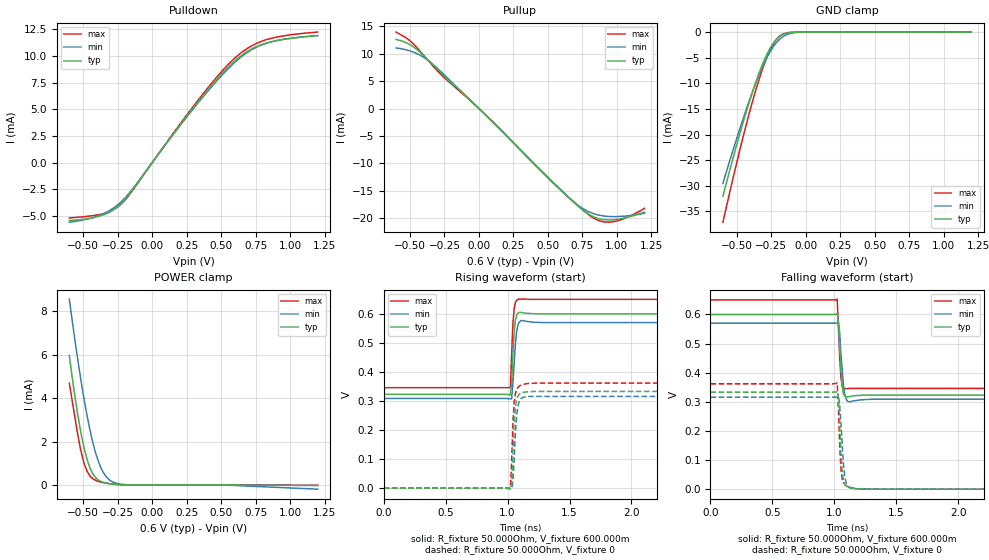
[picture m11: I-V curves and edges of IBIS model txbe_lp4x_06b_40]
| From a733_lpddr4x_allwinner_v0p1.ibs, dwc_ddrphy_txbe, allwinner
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[Model] txbe_lp4x_06b_40
Model_type   I/O
Polarity   Non-Inverting
Enable   Active-High
C_comp   1.525pF   1.517pF   1.532pF
C_comp_pullup   284.856fF   277.095fF   289.907fF
C_comp_pulldown 1.177pF   1.176pF   1.178pF
Vinh = 420.000mV
Vinl = 300.000mV
Vmeas = 360.000mV
Vref = 360.000mV
Rref = 50Ohms
Cref = 0pF
[Model Spec]
Vinh   420.000mV   402.000mV   450.000mV
Vinl   300.000mV   282.000mV   330.000mV
Vmeas   360.000mV   342.000mV   390.000mV
Vref   360.000mV   342.000mV   390.000mV
D_overshoot_ampl_h 0.1 NA   NA
D_overshoot_ampl_l 0.1 NA   NA
D_overshoot_area_l 300.000m NA   NA
D_overshoot_area_h 300.000m NA   NA
[Receiver Thresholds]
Vth = 180.000mV
Vth_min = 171.000mV
Vth_max = 195.000mV
Vinh_ac = 60.000mV
Vinh_dc = 60.000mV
Vinl_ac = -60.000mV
Vinl_dc = -60.000mV
Tslew_ac = 5.000ns
Threshold_sensitivity = 0.5
Reference_supply Pullup_ref
[Temperature Range]   25.000   125.000   -40.000
[Voltage Range]   600.000mV   570.000mV   650.000mV
[GND Clamp Reference]   0.00V   0.00V   0.00V
[C Comp Corner]
| variable   typ   min   max
C_comp 1.525pF   1.532pF   1.517pF
C_comp_pullup 284.856fF   289.907fF   277.095fF
C_comp_pulldown 1.176pF   1.177pF   1.178pF
[Pulldown Reference]   0.00V   0.00V   0.00V
[POWER Clamp Reference]   600.000mV   570.000mV   650.000mV
[Pullup Reference]   600.000mV   570.000mV   650.000mV
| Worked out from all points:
|   slope of the pulldown table from 0 to 0.09 V, typ, clamps not added: 56.6 ohm
|   slope of the pullup table from 0 to 0.09 V, typ, clamps not added: 40.9 ohm
|   GND clamp passes 1 mA (typ) near -0.20 V on its own axis
|   POWER clamp passes 1 mA (typ) near -0.46 V on its own axis
|   rising waveform, R_fixture 50.000Ohm, V_fixture 600.000m: 20-80 % time 20.4ps typ, 25ps min, 19.6ps max; typ from 0.323 V to 0.6 V
|   rising waveform, R_fixture 50.000Ohm, V_fixture 0: 20-80 % time 23.3ps typ, 26.1ps min, 21.9ps max; typ from 0 V to 0.333 V
|   falling waveform, R_fixture 50.000Ohm, V_fixture 600.000m: 20-80 % time 22.4ps typ, 27.3ps min, 20.5ps max; typ from 0.6 V to 0.323 V
|   falling waveform, R_fixture 50.000Ohm, V_fixture 0: 20-80 % time 24ps typ, 30ps min, 21.6ps max; typ from 0.333 V to 0 V
[GND Clamp]
-600mV    -32.03mA   -29.54mA   -37.09mA
-520mV    -23.95mA   -22.45mA   -27.77mA
-450mV    -17.29mA   -16.6mA    -20.07mA
-390mV    -12.04mA   -11.97mA   -13.96mA
-350mV    -8.872mA   -9.144mA   -10.26mA
-300mV    -5.434mA   -6.026mA   -6.213mA
-260mV    -3.228mA   -3.945mA   -3.604mA
-230mV    -1.962mA   -2.676mA   -2.109mA
-190mV    -840.1uA   -1.417mA   -811.3uA
-130mV    -154.6uA   -403.6uA   -107.3uA
-40mV     -4.876uA   -22.97uA   -1.917uA
1.2V      1.203uA    9.496uA    358.3nA
[Power Clamp]
-600mV    5.963mA    8.559mA    4.686mA
-560mV    4.101mA    6.693mA    3.134mA
-520mV    2.543mA    4.988mA    1.684mA
-500mV    1.903mA    4.207mA    1.151mA
-470mV    1.147mA    3.144mA    618.5uA
-430mV    519.2uA    1.962mA    289.2uA
-390mV    228.5uA    1.089mA    165.9uA
-340mV    92.83uA    440.3uA    93.34uA
-300mV    48.16uA    193.5uA    55.91uA
-170mV    2.644uA    10.52uA    3.018uA
530mV     -347.6nA   -6.316uA   -66.03nA
1.2V      -23.65uA   -191.6uA   -5.619uA
[Pulldown]
-600mV    -5.4mA     -5.56mA    -5.16mA
-370mV    -4.95mA    -4.87mA    -4.81mA
-300mV    -4.563mA   -4.405mA   -4.524mA
-230mV    -3.877mA   -3.715mA   -3.927mA
-150mV    -2.671mA   -2.583mA   -2.736mA
160mV     2.805mA    2.758mA    2.876mA
380mV     6.441mA    6.331mA    6.62mA
530mV     8.649mA    8.51mA     8.897mA
660mV     10.15mA    10.04mA    10.42mA
750mV     10.83mA    10.76mA    11.12mA
860mV     11.31mA    11.29mA    11.62mA
1.2V      11.88mA    11.89mA    12.21mA
[Pullup]
-600mV    12.57mA    11.01mA    13.9mA
-490mV    11.48mA    10.39mA    12.11mA
-410mV    9.847mA    9.467mA    9.935mA
-340mV    8.097mA    8.18mA     7.933mA
50mV      -1.216mA   -1.233mA   -1.198mA
620mV     -15.48mA   -15.44mA   -15.49mA
730mV     -18.02mA   -17.81mA   -17.97mA
810mV     -19.46mA   -18.94mA   -19.6mA
880mV     -20.12mA   -19.45mA   -20.49mA
970mV     -20.25mA   -19.67mA   -20.61mA
1.08V     -19.77mA   -19.52mA   -19.75mA
1.2V      -18.84mA   -19.05mA   -18.16mA
[Ramp]
R_load=50.000Ohm
dV/dt_r   182.986mV/22.500ps  172.979mV/25.500ps  199.797mV/20.000ps
dV/dt_f   182.985mV/24.500ps  172.978mV/29.500ps  199.796mV/21.000ps
[Rising waveform]
R_fixture=50.000Ohm
V_fixture=600.000m
V_fixture_min=570.000m
V_fixture_max=650.000m
0s        323mV      309mV      346mV
1.023ns   320mV      307mV      348mV
1.033ns   365mV      308mV      462mV
1.043ns   460mV      360mV      564mV
1.053ns   537mV      429mV      617mV
1.063ns   578mV      496mV      639mV
1.073ns   595mV      538mV      647mV
1.083ns   602mV      561mV      650mV
1.093ns   605mV      571mV      651mV
10ns      600mV      570mV      650mV
[Rising waveform]
R_fixture=50.000Ohm
V_fixture=0
0s        46.57uV    404.9uV    11.16uV
1.023ns   -3.183mV   -1.226mV   390uV
1.033ns   20.74mV    -1.453mV   96.82mV
1.043ns   119mV      23.72mV    223mV
1.053ns   222mV      98.04mV    294mV
1.063ns   278mV      185mV      325mV
1.073ns   304mV      248mV      339mV
1.093ns   323mV      298mV      351mV
1.173ns   332mV      316mV      361mV
10ns      333mV      316mV      362mV
[Falling waveform]
R_fixture=50.000Ohm
V_fixture=600.000m
V_fixture_min=570.000m
V_fixture_max=650.000m
0s        600mV      570mV      650mV
1.023ns   603mV      571mV      653mV
1.033ns   573mV      573mV      549mV
1.043ns   484mV      537mV      456mV
1.053ns   409mV      465mV      382mV
1.063ns   354mV      412mV      356mV
1.073ns   329mV      361mV      348mV
1.093ns   317mV      312mV      345mV
1.123ns   318mV      300mV      346mV
10ns      323mV      309mV      346mV
[Falling waveform]
R_fixture=50.000Ohm
V_fixture=0
0s        333mV      316mV      362mV
1.023ns   336mV      317mV      365mV
1.033ns   311mV      319mV      271mV
1.043ns   227mV      289mV      154mV
1.053ns   128mV      230mV      69.2mV
1.063ns   62.25mV    155mV      36.02mV
1.083ns   17.55mV    47.94mV    17.22mV
1.103ns   8.365mV    13.73mV    10.7mV
1.203ns   1.001mV    917.8uV    1.069mV
10ns      51.07uV    406.2uV    13.17uV
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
